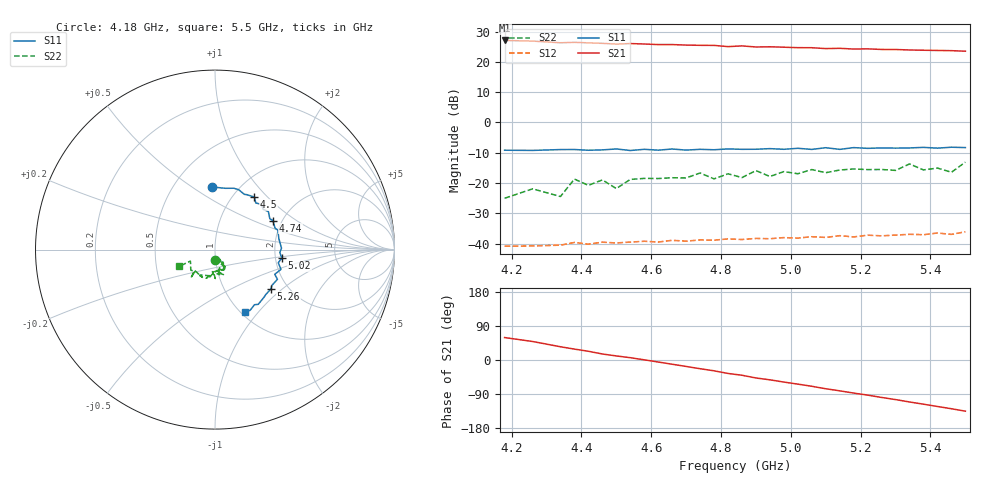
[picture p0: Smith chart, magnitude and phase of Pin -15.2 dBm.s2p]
! RsaToolbox (C) 2015 Rohde & Schwarz America
! Number of points: 32
! Number of ports: 2
! Balanced ports?: No
# Hz S RI R 50
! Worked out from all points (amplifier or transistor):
!   32 points, 4.18 GHz to 5.5 GHz, reference 50 ohm
!   highest |S21| = 27.0 dB at 4.18 GHz (marker M1)
!   |S21| within 3 dB of that: start of sweep to 5.305 GHz
!   unconditionally stable (mu >= 1): start of sweep to end of sweep
!   at 4.46 GHz: K = 2.08, MAG = 26.9 dB, |S12| = -39.5 dB
!   at 4.9 GHz: K = 2.02, MAG = 25.8 dB, |S12| = -38.2 dB
!   at 5.5 GHz: K = 1.77, MAG = 24.7 dB, |S12| = -36.0 dB
!   S11 on the Smith chart (normalised r, x): 4.18 GHz: 0.76, +0.61; 4.5 GHz: 1.25, +0.84; 4.74 GHz: 1.79, +0.67; 5.02 GHz: 2.17, -0.24; 5.26 GHz: 1.64, -0.84; 5.5 GHz: 1.05, -0.85
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4.18e9  -0.0139 0.3486  11.52 19.34  0.00818 0.00408  0.000203 -0.0563
4.26e9  0.0573 0.3416  14.46 16.56  0.00874 0.00292  0.0303 -0.0746
4.34e9  0.1053 0.3419  16.9 11.81  0.00938 0.00147  0.0271 -0.0537
4.38e9  0.1331 0.3329  18.37 10.09  0.0105 0.000651  0.0516 -0.1047
4.42e9  0.1631 0.308  18.91 8.034  0.00986 2.93e-05  0.0438 -0.0807
4.5e9  0.2196 0.293  19.27 3.647  0.0102 -0.00166  0.0435 -0.0688
4.54e9  0.227 0.2599  19.9 2.123  0.0103 -0.00271  0.0199 -0.1133
4.62e9  0.2684 0.2243  19.17 -1.793  0.00966 -0.00459  0.0257 -0.1163
4.66e9  0.2974 0.212  18.91 -3.725  0.0103 -0.00496  0.0507 -0.1118
4.74e9  0.3225 0.1618  17.23 -7.317  0.00953 -0.00659  0.0473 -0.1392
4.78e9  0.3349 0.1185  16.4 -8.898  0.00823 -0.00799  0.00945 -0.1172
4.82e9  0.3498 0.1099  14.51 -10.34  0.0086 -0.00842  0.0255 -0.1402
4.86e9  0.356 0.0608  13.97 -11.83  0.00707 -0.0094  -0.0146 -0.1228
4.9e9  0.3583 0.0521  11.89 -12.94  0.00705 -0.01  0.00164 -0.1612
4.94e9  0.3706 0.00823  10.82 -14.01  0.00588 -0.0106  -0.00744 -0.1285
5.02e9  0.3723 -0.0477  7.599 -15.35  0.00441 -0.0116  -0.0248 -0.1408
5.06e9  0.3522 -0.0733  6.023 -15.99  0.00326 -0.0127  -0.0492 -0.1601
5.14e9  0.333 -0.1377  2.513 -16.51  0.00102 -0.0136  -0.0837 -0.1417
5.26e9  0.3112 -0.2197  -2.461 -15.81  -0.00162 -0.0134  -0.0769 -0.1493
5.3e9  0.2824 -0.2508  -3.99 -15.47  -0.0032 -0.0135  -0.1134 -0.116
5.42e9  0.22 -0.307  -8.304 -12.97  -0.00659 -0.0135  -0.1349 -0.1148
5.5e9  0.1677 -0.3473  -10.59 -10.59  -0.00897 -0.013  -0.2012 -0.0939
